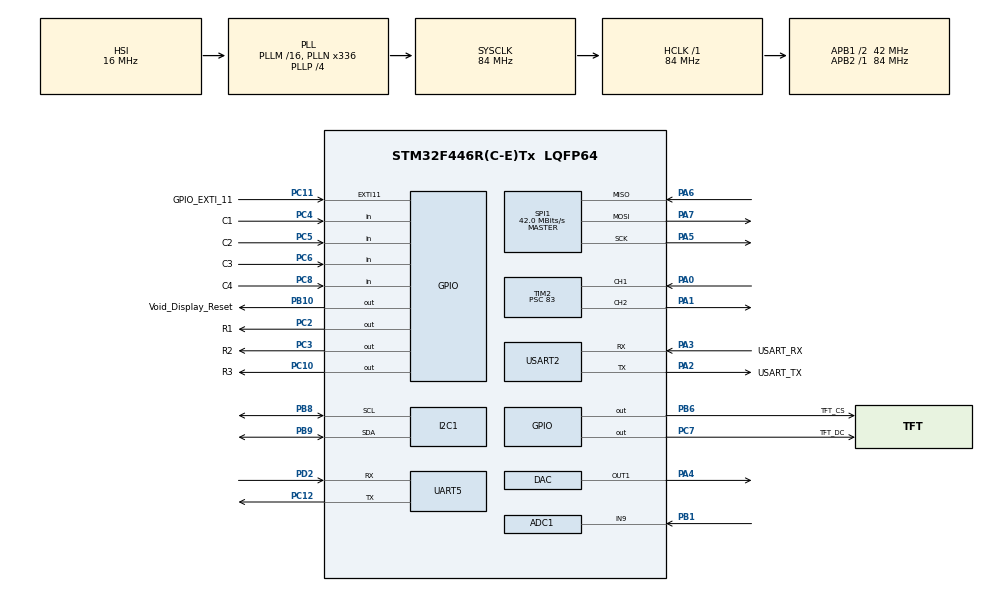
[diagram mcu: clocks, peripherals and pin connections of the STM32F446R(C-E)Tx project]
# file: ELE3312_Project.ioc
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ADC1.Channel-0\#ChannelRegularConversion=ADC_CHANNEL_9
ADC1.ExternalTrigConv=ADC_EXTERNALTRIGCONV_T2_TRGO
ADC1.NbrOfConversionFlag=1
ADC1.Rank-0\#ChannelRegularConversion=1
ADC1.SamplingTime-0\#ChannelRegularConversion=ADC_SAMPLETIME_3CYCLES
ADC1.master=1
DAC.DAC_Trigger=DAC_TRIGGER_T5_TRGO
Dma.DAC1.1.Direction=DMA_MEMORY_TO_PERIPH
Dma.DAC1.1.FIFOMode=DMA_FIFOMODE_DISABLE
Dma.DAC1.1.Instance=DMA1_Stream5
Dma.DAC1.1.MemDataAlignment=DMA_MDATAALIGN_WORD
Dma.DAC1.1.MemInc=DMA_MINC_ENABLE
Dma.DAC1.1.Mode=DMA_NORMAL
Dma.DAC1.1.PeriphDataAlignment=DMA_PDATAALIGN_WORD
Dma.DAC1.1.PeriphInc=DMA_PINC_DISABLE
Dma.DAC1.1.Priority=DMA_PRIORITY_HIGH
Dma.I2C1_RX.2.Direction=DMA_PERIPH_TO_MEMORY
Dma.I2C1_RX.2.FIFOMode=DMA_FIFOMODE_DISABLE
Dma.I2C1_RX.2.Instance=DMA1_Stream0
Dma.I2C1_RX.2.MemDataAlignment=DMA_MDATAALIGN_BYTE
Dma.I2C1_RX.2.MemInc=DMA_MINC_ENABLE
Dma.I2C1_RX.2.Mode=DMA_NORMAL
Dma.I2C1_RX.2.PeriphDataAlignment=DMA_PDATAALIGN_BYTE
Dma.I2C1_RX.2.PeriphInc=DMA_PINC_DISABLE
Dma.I2C1_RX.2.Priority=DMA_PRIORITY_LOW
Dma.I2C1_TX.3.Direction=DMA_MEMORY_TO_PERIPH
Dma.I2C1_TX.3.FIFOMode=DMA_FIFOMODE_DISABLE
Dma.I2C1_TX.3.Instance=DMA1_Stream6
Dma.I2C1_TX.3.MemDataAlignment=DMA_MDATAALIGN_BYTE
Dma.I2C1_TX.3.MemInc=DMA_MINC_ENABLE
Dma.I2C1_TX.3.Mode=DMA_NORMAL
Dma.I2C1_TX.3.PeriphDataAlignment=DMA_PDATAALIGN_BYTE
Dma.I2C1_TX.3.PeriphInc=DMA_PINC_DISABLE
Dma.I2C1_TX.3.Priority=DMA_PRIORITY_LOW
Dma.Request0=SPI1_TX
Dma.Request1=DAC1
Dma.Request2=I2C1_RX
Dma.Request3=I2C1_TX
Dma.Request4=UART5_TX
Dma.SPI1_TX.0.Direction=DMA_MEMORY_TO_PERIPH
Dma.SPI1_TX.0.FIFOMode=DMA_FIFOMODE_DISABLE
Dma.SPI1_TX.0.Instance=DMA2_Stream3
Dma.SPI1_TX.0.MemDataAlignment=DMA_MDATAALIGN_BYTE
Dma.SPI1_TX.0.MemInc=DMA_MINC_ENABLE
Dma.SPI1_TX.0.Mode=DMA_NORMAL
Dma.SPI1_TX.0.PeriphDataAlignment=DMA_PDATAALIGN_BYTE
Dma.SPI1_TX.0.PeriphInc=DMA_PINC_DISABLE
Dma.SPI1_TX.0.Priority=DMA_PRIORITY_LOW
Dma.UART5_TX.4.Direction=DMA_MEMORY_TO_PERIPH
Dma.UART5_TX.4.FIFOMode=DMA_FIFOMODE_DISABLE
Dma.UART5_TX.4.Instance=DMA1_Stream7
Dma.UART5_TX.4.MemDataAlignment=DMA_MDATAALIGN_BYTE
Dma.UART5_TX.4.MemInc=DMA_MINC_ENABLE
Dma.UART5_TX.4.Mode=DMA_NORMAL
Dma.UART5_TX.4.PeriphDataAlignment=DMA_PDATAALIGN_BYTE
Dma.UART5_TX.4.PeriphInc=DMA_PINC_DISABLE
Dma.UART5_TX.4.Priority=DMA_PRIORITY_LOW
I2C1.I2C_Mode=I2C_Fast
Mcu.Family=STM32F4
Mcu.Name=STM32F446R(C-E)Tx
Mcu.Package=LQFP64
NVIC.DMA1_Stream0_IRQn=true\:0\:0\:false\:false\:true\:false\:true\:true
NVIC.DMA1_Stream5_IRQn=true\:0\:0\:false\:false\:true\:false\:true\:true
NVIC.DMA1_Stream6_IRQn=true\:0\:0\:false\:false\:true\:false\:true\:true
NVIC.DMA1_Stream7_IRQn=true\:0\:0\:false\:false\:true\:false\:true\:true
NVIC.DMA2_Stream3_IRQn=true\:0\:0\:false\:false\:true\:false\:true\:true
NVIC.EXTI15_10_IRQn=true\:0\:0\:false\:false\:true\:true\:true\:true
NVIC.I2C1_ER_IRQn=true\:0\:0\:false\:false\:true\:true\:true\:true
NVIC.I2C1_EV_IRQn=true\:0\:0\:false\:false\:true\:true\:true\:true
NVIC.PriorityGroup=NVIC_PRIORITYGROUP_0
NVIC.SPI1_IRQn=true\:0\:0\:false\:false\:true\:true\:true\:true
NVIC.TIM2_IRQn=true\:0\:0\:false\:false\:true\:true\:true\:true
NVIC.UART5_IRQn=true\:0\:0\:false\:false\:true\:true\:true\:true
PA0-WKUP.Signal=S_TIM2_CH1_ETR
PA1.Signal=S_TIM2_CH2
PA13.GPIO_Label=TMS
PA13.Mode=Serial_Wire
PA13.Signal=SYS_JTMS-SWDIO
PA14.GPIO_Label=TCK
PA14.Mode=Serial_Wire
PA14.Signal=SYS_JTCK-SWCLK
PA2.GPIO_Label=USART_TX
PA2.Mode=Asynchronous
PA2.Signal=USART2_TX
PA3.GPIO_Label=USART_RX
PA3.Mode=Asynchronous
PA3.Signal=USART2_RX
PA4.Signal=COMP_DAC1_group
PA5.Mode=Full_Duplex_Master
PA5.Signal=SPI1_SCK
PA6.Mode=Full_Duplex_Master
PA6.Signal=SPI1_MISO
PA7.Mode=Full_Duplex_Master
PA7.Signal=SPI1_MOSI
PB1.Signal=ADCx_IN9
PB10.GPIO_Label=Void_Display_Reset
PB10.Signal=GPIO_Output
PB3.GPIO_Label=SWO
PB3.Signal=SYS_JTDO-SWO
PB6.GPIO_Label=TFT_CS
PB6.Signal=GPIO_Output
PB8.Mode=I2C
PB8.Signal=I2C1_SCL
PB9.Mode=I2C
PB9.Signal=I2C1_SDA
PC10.GPIO_Label=R3
PC10.GPIO_ModeDefaultOutputPP=GPIO_MODE_OUTPUT_OD
PC10.GPIO_PuPd=GPIO_NOPULL
PC10.Signal=GPIO_Output
PC11.GPIO_Label=GPIO_EXTI_11
PC11.GPIO_ModeDefaultEXTI=GPIO_MODE_IT_FALLING
PC11.Signal=GPXTI11
PC12.Mode=Asynchronous
PC12.Signal=UART5_TX
PC14-OSC32_IN.Mode=LSE-External-Oscillator
PC14-OSC32_IN.Signal=RCC_OSC32_IN
PC15-OSC32_OUT.Mode=LSE-External-Oscillator
PC15-OSC32_OUT.Signal=RCC_OSC32_OUT
PC2.GPIO_Label=R1
PC2.GPIO_ModeDefaultOutputPP=GPIO_MODE_OUTPUT_OD
PC2.GPIO_PuPd=GPIO_NOPULL
PC2.Signal=GPIO_Output
PC3.GPIO_Label=R2
PC3.GPIO_ModeDefaultOutputPP=GPIO_MODE_OUTPUT_OD
PC3.GPIO_PuPd=GPIO_NOPULL
PC3.Signal=GPIO_Output
PC4.GPIO_Label=C1
PC4.GPIO_PuPd=GPIO_PULLUP
PC4.Signal=GPIO_Input
PC5.GPIO_Label=C2
PC5.GPIO_PuPd=GPIO_PULLUP
PC5.Signal=GPIO_Input
PC6.GPIO_Label=C3
PC6.GPIO_PuPd=GPIO_PULLUP
PC6.Signal=GPIO_Input
PC7.GPIO_Label=TFT_DC
PC7.Signal=GPIO_Output
PC8.GPIO_Label=C4
PC8.GPIO_PuPd=GPIO_PULLUP
PC8.Signal=GPIO_Input
PD2.Mode=Asynchronous
PD2.Signal=UART5_RX
PH0-OSC_IN.Mode=HSE-External-Oscillator
PH0-OSC_IN.Signal=RCC_OSC_IN
PH1-OSC_OUT.Mode=HSE-External-Oscillator
PH1-OSC_OUT.Signal=RCC_OSC_OUT
ProjectManager.HeapSize=0x200
ProjectManager.StackSize=0x400
ProjectManager.TargetToolchain=MDK-ARM V5.32
RCC.48MHZClocksFreq_Value=84000000
RCC.AHBFreq_Value=84000000
RCC.APB1CLKDivider=RCC_HCLK_DIV2
RCC.APB1Freq_Value=42000000
RCC.APB1TimFreq_Value=84000000
RCC.APB2Freq_Value=84000000
RCC.APB2TimFreq_Value=84000000
RCC.CortexFreq_Value=84000000
RCC.FLatency-AdvancedSettings=FLASH_LATENCY_2
RCC.HCLKFreq_Value=84000000
RCC.HSE_VALUE=8000000
RCC.HSI_VALUE=16000000
RCC.PLLN=336
RCC.PLLP=RCC_PLLP_DIV4
RCC.SYSCLKFreq_VALUE=84000000
RCC.SYSCLKSource=RCC_SYSCLKSOURCE_PLLCLK
RCC.USBFreq_Value=168000000
RCC.VCOOutputFreq_Value=336000000
SH.ADCx_IN9.0=ADC1_IN9,IN9
SH.COMP_DAC1_group.0=DAC_OUT1,DAC_OUT1
SH.S_TIM2_CH1_ETR.0=TIM2_CH1,Input_Capture1_from_TI1
SH.S_TIM2_CH2.0=TIM2_CH2,PWM Generation2 CH2
SPI1.CalculateBaudRate=42.0 MBits/s
SPI1.Direction=SPI_DIRECTION_2LINES
SPI1.Mode=SPI_MODE_MASTER
SPI1.VirtualType=VM_MASTER
TIM2.Channel-Input_Capture1_from_TI1=TIM_CHANNEL_1
TIM2.Channel-PWM\ Generation2\ CH2=TIM_CHANNEL_2
TIM2.ICPolarity_CH1=TIM_INPUTCHANNELPOLARITY_BOTHEDGE
TIM2.Period=199999
TIM2.Prescaler=83
TIM2.Pulse-PWM\ Generation2\ CH2=10
TIM2.TIM_MasterOutputTrigger=TIM_TRGO_RESET
TIM5.Period=24
TIM5.Prescaler=83
TIM5.TIM_MasterOutputTrigger=TIM_TRGO_UPDATE
UART5.VirtualMode=Asynchronous
USART2.VirtualMode=VM_ASYNC
VP_TIM2_VS_ClockSourceINT.Mode=Internal
VP_TIM4_VS_ClockSourceINT.Mode=Internal
VP_TIM5_VS_ClockSourceINT.Mode=Internal
board=NUCLEO-F446RE

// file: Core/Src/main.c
/* USER CODE BEGIN Header */
/**
  ******************************************************************************
  * @file           : main.c
  * @brief          : Main program for the ELE3312 project
	* Authors         :
	* Group           :
	*
  ******************************************************************************
  * Project: Projet Final_Version Final
	* Partie : 1
  * Author1: Moira Lamarre 2070819
	* Author2: Kamer Ammour 2061731
  * Groupe: 5
	*
	* Partie : 2
	* Author3: Rina Aladad 2185593
	* Author4:Mahdi Moussa 2176885
  * Groupe: 5
  * Date: 2024-11-27
  * This file contains the main logic of the game.
  *
  ******************************************************************************
  */
/* USER CODE END Header */
#include "main.h"
#include "adc.h"
#include "dac.h"
#include "dma.h"
#include "i2c.h"
#include "spi.h"
#include "tim.h"
#include "usart.h"
#include "gpio.h"

/* USER CODE BEGIN Includes */
#include "ili9341.h"
#include "ili9341_gfx.h"
#include "stdio.h"
#include "stdlib.h"
#include "math.h"

#include "Graphics.h"
#include "Menu.h"
#include "Game.h"
#include "Battle.h"
#include "stdio.h"
#include "Accelerometre.h"
#include "Communication.h"

/* USER CODE END Includes */

/* USER CODE BEGIN PD */

#define TABLE_LENGTH 1000

/* USER CODE END PD */

/* USER CODE BEGIN PV */
ili9341_t *_screen;
player_t players[NUM_PLAYERS] = {0};
uint8_t gameFlag = 0;
uint8_t RxDatsa[1];

uint32_t tab_value0[TABLE_LENGTH];
uint32_t * pointer_tab0 = tab_value0; // Initialise un pointeur vers le tableau 1
uint8_t data[6];
int16_t accelY;
int16_t accelX;

float temps_min = 116.0;
float temps_max = 3480.0;
float v_son = 0.000343;
volatile float temps_echo = 0.0;
volatile float echo_start = 0.0;
volatile float echo_end = 0.0;

volatile int etat_rising_Egde=0;
volatile int in_bounds = 0;
volatile int position_current = 0;

//Partie 2 initiation signal carée, etc:

uint32_t tab_value[TABLE_LENGTH];
//uint32_t tab_value2[TABLE_LENGTH];
const float fs = 40000.0;
volatile float frequence;
const float M_PI = 3.14159265;
const float distance_un_carre = (60.0-2.0)/15.0;
const float distance_min = 2.0;
volatile float distance;
float freq[15] = {246.94,261.63,293.66,311.13,329.63,369.99,392.00,440,493.88,523.25,587.33,622.25,659.26,698.46,783.99};
float distance_carre[16] =
{distance_min,
1.0*distance_un_carre+distance_min,// distance maximale de la premiere frequence freq[0]
2.0*distance_un_carre+distance_min,
3.0*distance_un_carre+distance_min,
4.0*distance_un_carre+distance_min,
5.0*distance_un_carre+distance_min,
6.0*distance_un_carre+distance_min,
7.0*distance_un_carre+distance_min, //  distance maximale de la 7eme frequence freq[6]
8.0*distance_un_carre+distance_min, // distance maximale a 440Hz
9.0*distance_un_carre+distance_min,
10.0*distance_un_carre+distance_min,
11.0*distance_un_carre+distance_min,
12.0*distance_un_carre+distance_min,
13.0*distance_un_carre+distance_min,
14.0*distance_un_carre+distance_min,
15.0*distance_un_carre+distance_min};// distance maximale de la derniere frequence freq[14]

const int nb_pixel_un_carre = 240/15;
int nb_pixel_y [16]=
{0,
1*nb_pixel_un_carre,// derniere position du premier cube freq[0]
2*nb_pixel_un_carre,
3*nb_pixel_un_carre,
4*nb_pixel_un_carre,
5*nb_pixel_un_carre,
6*nb_pixel_un_carre,
7*nb_pixel_un_carre,
8*nb_pixel_un_carre, // derniere position du 8eme cube freq[7]
9*nb_pixel_un_carre,
10*nb_pixel_un_carre,
11*nb_pixel_un_carre,
12*nb_pixel_un_carre,
13*nb_pixel_un_carre,
14*nb_pixel_un_carre,
15*nb_pixel_un_carre};// derniere position du dernier cube freq[14]
ili9341_t *_screen;
extern volatile int counter;
extern volatile int nb_etoiles;
extern volatile int position_x[10];
extern volatile int position_y[10];
extern volatile int z;
extern volatile int pouvoir_Pac;
extern volatile int pouvoir_Ghost;

/* USER CODE END PV */

void SystemClock_Config(void);
/* USER CODE BEGIN PFP */

void HAL_TIM_IC_CaptureCallback(TIM_HandleTypeDef *htim){
    if (htim->Instance == TIM2 && htim->Channel == HAL_TIM_ACTIVE_CHANNEL_1) {
        if (etat_rising_Egde==0) {
            echo_start = HAL_TIM_ReadCapturedValue(htim, TIM_CHANNEL_1);
					etat_rising_Egde=1;
        } else if(etat_rising_Egde==1) {
            echo_end = HAL_TIM_ReadCapturedValue(htim, TIM_CHANNEL_1);
					etat_rising_Egde=0;
					temps_echo=fabsf(echo_end-echo_start);

					if(temps_echo>=temps_min && temps_echo<= temps_max)
					{
					in_bounds = 1;
					}else{in_bounds = 0;}
                 }

    }
}

void fill_table_onde_carre(uint32_t *tableau, float frequence) {

int periode = fs/frequence;

		for (int i = 0; i < TABLE_LENGTH; i++) {
			tableau[i] = (uint32_t)((sinf(2.0*M_PI*frequence*i/fs)+1)*2000.00);

}
		}
void partie_B(float v_son, float temps_echo, int in_bounds,ili9341_t *_screen,float *distance_carre,float *freq,float frequence,uint32_t *tab_value,int *nb_pixel_y ){
	    /* USER CODE END WHILE */

	 /* USER CODE END WHILE */
 distance = ((v_son *temps_echo)/2.0)*100.0;
	if(distance>=2&& distance<=60)
	{
		distance = distance;
	}else if (distance>=60)
	{
	distance = 60;
	} else if (distance <=2.8)
	{
	distance = 2;
	}

if(distance<=distance_carre[1] && distance>=distance_carre[0]){frequence = freq[0];
fill_table_onde_carre(tab_value, frequence);// premiere frequence
	ili9341_fill_rect(_screen, ILI9341_BLACK, 272, 0, 16, 240);
	position_current = nb_pixel_y [0];
	ili9341_fill_rect(_screen, ILI9341_CYAN, 272,nb_pixel_y [0], nb_pixel_un_carre, nb_pixel_un_carre);
}

if(distance<=distance_carre[2] && distance>=distance_carre[1]){frequence = freq[1];
fill_table_onde_carre(tab_value, frequence);
ili9341_fill_rect(_screen, ILI9341_BLACK, 272, 0, 16, 240);
		position_current = nb_pixel_y [1];
	ili9341_fill_rect(_screen, ILI9341_CYAN, 272,nb_pixel_y [1], nb_pixel_un_carre, nb_pixel_un_carre);
}

if(distance<=distance_carre[3] && distance>=distance_carre[2]){frequence = freq[2];
fill_table_onde_carre(tab_value, frequence);
ili9341_fill_rect(_screen, ILI9341_BLACK, 272, 0, 16, 240);
		position_current = nb_pixel_y [2];
	ili9341_fill_rect(_screen, ILI9341_CYAN, 272,nb_pixel_y [2], nb_pixel_un_carre, nb_pixel_un_carre);
}

if(distance<=distance_carre[4] && distance>=distance_carre[3]){frequence = freq[3];
fill_table_onde_carre(tab_value, frequence);
ili9341_fill_rect(_screen, ILI9341_BLACK, 272, 0, 16, 240);
		position_current = nb_pixel_y [3];
	ili9341_fill_rect(_screen, ILI9341_CYAN, 272,nb_pixel_y [3], nb_pixel_un_carre, nb_pixel_un_carre);
}

if(distance<=distance_carre[5] && distance>=distance_carre[4]){frequence = freq[4];
fill_table_onde_carre(tab_value, frequence);
ili9341_fill_rect(_screen, ILI9341_BLACK, 272, 0, 16, 240);
		position_current = nb_pixel_y [4];
	ili9341_fill_rect(_screen, ILI9341_CYAN, 272,nb_pixel_y [4], nb_pixel_un_carre, nb_pixel_un_carre);
}

if(distance<=distance_carre[6] && distance>=distance_carre[5]){frequence = freq[5];
fill_table_onde_carre(tab_value, frequence);
ili9341_fill_rect(_screen, ILI9341_BLACK, 272, 0, 16, 240);
		position_current = nb_pixel_y [5];
	ili9341_fill_rect(_screen, ILI9341_CYAN, 272,nb_pixel_y [5], nb_pixel_un_carre, nb_pixel_un_carre);
}

if(distance<=distance_carre[7] && distance>=distance_carre[6]){frequence = freq[6];
fill_table_onde_carre(tab_value, frequence);
ili9341_fill_rect(_screen, ILI9341_BLACK, 272, 0, 16, 240);
		position_current = nb_pixel_y [6];
	ili9341_fill_rect(_screen, ILI9341_CYAN, 272,nb_pixel_y [6], nb_pixel_un_carre, nb_pixel_un_carre);
}

if(distance<=distance_carre[8] && distance>=distance_carre[7]){frequence = freq[7];
fill_table_onde_carre(tab_value, frequence);//440 HZ
	ili9341_fill_rect(_screen, ILI9341_BLACK, 272, 0, 16, 240);
		position_current = nb_pixel_y [7];
	ili9341_fill_rect(_screen, ILI9341_CYAN, 272,nb_pixel_y [7], nb_pixel_un_carre, nb_pixel_un_carre);
}

if(distance<=distance_carre[9] && distance>=distance_carre[8]){frequence = freq[8];
fill_table_onde_carre(tab_value, frequence);
ili9341_fill_rect(_screen, ILI9341_BLACK, 272, 0, 16, 240);
		position_current = nb_pixel_y [8];
	ili9341_fill_rect(_screen, ILI9341_CYAN, 272,nb_pixel_y [8], nb_pixel_un_carre, nb_pixel_un_carre);
}

if(distance<=distance_carre[10] && distance>=distance_carre[9]){frequence = freq[9];
fill_table_onde_carre(tab_value, frequence);
ili9341_fill_rect(_screen, ILI9341_BLACK, 272, 0, 16, 240);
		position_current = nb_pixel_y [9];
	ili9341_fill_rect(_screen, ILI9341_CYAN, 272,nb_pixel_y [9], nb_pixel_un_carre, nb_pixel_un_carre);
}

if(distance<=distance_carre[11] && distance>=distance_carre[10]){frequence = freq[10];
fill_table_onde_carre(tab_value, frequence);
ili9341_fill_rect(_screen, ILI9341_BLACK, 272, 0, 16, 240);
		position_current = nb_pixel_y [10];
	ili9341_fill_rect(_screen, ILI9341_CYAN, 272,nb_pixel_y [10], nb_pixel_un_carre, nb_pixel_un_carre);
}

if(distance<=distance_carre[12] && distance>=distance_carre[11]){frequence = freq[11];
fill_table_onde_carre(tab_value, frequence);
ili9341_fill_rect(_screen, ILI9341_BLACK, 272, 0, 16, 240);
		position_current = nb_pixel_y [11];
	ili9341_fill_rect(_screen, ILI9341_CYAN, 272,nb_pixel_y [11], nb_pixel_un_carre, nb_pixel_un_carre);
}

if(distance<=distance_carre[13] && distance>=distance_carre[12]){frequence = freq[12];
fill_table_onde_carre(tab_value, frequence);
ili9341_fill_rect(_screen, ILI9341_BLACK, 272, 0, 16, 240);
		position_current = nb_pixel_y [12];
	ili9341_fill_rect(_screen, ILI9341_CYAN, 272,nb_pixel_y [12], nb_pixel_un_carre, nb_pixel_un_carre);
}

if(distance<=distance_carre[14] && distance>=distance_carre[13]){frequence = freq[13];
fill_table_onde_carre(tab_value, frequence);
ili9341_fill_rect(_screen, ILI9341_BLACK, 272, 0, 16, 240);
		position_current = nb_pixel_y [13];
	ili9341_fill_rect(_screen, ILI9341_CYAN, 272,nb_pixel_y [13], nb_pixel_un_carre, nb_pixel_un_carre);
}

if(distance<=distance_carre[15] && distance>=distance_carre[14]){frequence = freq[14];
fill_table_onde_carre(tab_value, frequence);// derniere frequence
ili9341_fill_rect(_screen, ILI9341_BLACK, 272, 0, 16, 240);
		position_current = nb_pixel_y [14];
	ili9341_fill_rect(_screen, ILI9341_CYAN, 272,nb_pixel_y [14], nb_pixel_un_carre, nb_pixel_un_carre);
}

frequence = 0.0;
	temps_echo = 0.0;
	distance = 0.0;
}
/* USER CODE END PFP */

int main(void)
{

  /* MCU Configuration--------------------------------------------------------*/

  /* Reset of all peripherals, Initializes the Flash interface and the Systick. */
  HAL_Init();

  /* USER CODE BEGIN Init */
	/* Default players setting */
	static game_state_t game_state = CHOOSE_PLAYER;
  /* USER CODE END Init */

  /* Configure the system clock */
  SystemClock_Config();

  /* Initialize all configured peripherals */
  MX_GPIO_Init();
  MX_DMA_Init();
  MX_SPI1_Init();
  MX_USART2_UART_Init();
  MX_DAC_Init();
  MX_TIM2_Init();
  MX_TIM5_Init();
  MX_ADC1_Init();
  MX_TIM4_Init();
  MX_I2C1_Init();
  MX_UART5_Init();
  /* USER CODE BEGIN 2 */

	// Initialize the screen
	_screen = ili9341_new(
		  &hspi1,
		  Void_Display_Reset_GPIO_Port, Void_Display_Reset_Pin,
		  TFT_CS_GPIO_Port, TFT_CS_Pin,
		  TFT_DC_GPIO_Port, TFT_DC_Pin,
		  isoLandscapeFlip,
		  NULL, NULL,
		  NULL, NULL,
		  itsNotSupported,
		  itnNormalized);
	char text[40];
	ili9341_text_attr_t text_attr = {&ili9341_font_11x18,  ILI9341_WHITE, ILI9341_BLACK, 10, 0};
	ili9341_fill_screen(_screen, ILI9341_BLACK);
	ili9341_text_attr_t text_attr2 = {&ili9341_font_11x18, ILI9341_WHITE, ILI9341_BLACK,0,18};
	HAL_TIM_Base_Start_IT(&htim2);
	HAL_TIM_PWM_Start_IT(&htim2,TIM_CHANNEL_2);
	HAL_TIM_IC_Start_IT(&htim2,TIM_CHANNEL_1);
	HAL_TIM_Base_Start_IT(&htim5);
	HAL_DAC_Start_DMA(&hdac, DAC_CHANNEL_1, tab_value, TABLE_LENGTH, DAC_ALIGN_12B_R);

		player_t* player = &players[LOCAL_PLAYER_ID];
	player_t* enemy = &players[ENEMY_PLAYER_ID];

	int16_t x = 0, y = 0;

  /* USER CODE END 2 */

  /* Infinite loop */
  while (1)
  {

    /* USER CODE BEGIN 3 */
		HAL_Delay(20); // � remplacer avec un timer

		switch(game_state) {
		case CHOOSE_PLAYER:
      choosePlayer(_screen, players);
			game_state = INIT_MAZE;
			break;
			break;

		case INIT_MAZE:
				counter = 0;
				nb_etoiles = 0;
				z = 0;
				pouvoir_Pac = 0;
		  	player->current_pos = player->start_pos;
		  	enemy->current_pos = enemy->start_pos;
		  	drawMaze(_screen, players);
		  	game_state = WANDER_MAZE;

			break;

		case WANDER_MAZE:

		//player
		if (Data_flag != 0) {
					See_Acceleration();
					Data_flag = 0;
			}
			x = player->current_pos.x + nx * STEP_SIZE;
			y = player->current_pos.y + ny * STEP_SIZE;

 if (updatePosition(_screen, (position_t){x, y}, players)) {
        game_state = BATTLE;
        continue;
    }

    // Communicate
    uint8_t message[4] = {
        (uint8_t)(player->current_pos.x >> 8),
        (uint8_t)(player->current_pos.x & 0xFF),
        (uint8_t)(player->current_pos.y >> 8),
        (uint8_t)(player->current_pos.y & 0xFF)
    };
    UART_SendMessage(&huart5, message, sizeof(message));

    // Check for position updates from the other board
    if (flag_message_complete) {
        flag_message_complete = 0;

        //Remote player's position
        enemy->previous_pos = enemy->current_pos;
        enemy->current_pos.x = (message_buffer[0] << 8) | message_buffer[1];
        enemy->current_pos.y = (message_buffer[2] << 8) | message_buffer[3];

        // Draw the remote player at the updated position
        drawRemotePlayer(_screen, enemy);
    }

  	if(updatePosition(_screen, (position_t){x, y}, players)){
				game_state = BATTLE;
			continue;
		}

			break;

		case BATTLE:
			HAL_DAC_Start_DMA(&hdac, DAC_CHANNEL_1, tab_value, TABLE_LENGTH, DAC_ALIGN_12B_R);
			battle(_screen, players);
			game_state = INIT_MAZE;
			break;
		}
  }
  /* USER CODE END 3 */
}

void SystemClock_Config(void)
{
  RCC_OscInitTypeDef RCC_OscInitStruct = {0};
  RCC_ClkInitTypeDef RCC_ClkInitStruct = {0};

  /** Configure the main internal regulator output voltage
  */
  __HAL_RCC_PWR_CLK_ENABLE();
  __HAL_PWR_VOLTAGESCALING_CONFIG(PWR_REGULATOR_VOLTAGE_SCALE3);

  /** Initializes the RCC Oscillators according to the specified parameters
  * in the RCC_OscInitTypeDef structure.
  */
  RCC_OscInitStruct.OscillatorType = RCC_OSCILLATORTYPE_HSI;
  RCC_OscInitStruct.HSIState = RCC_HSI_ON;
  RCC_OscInitStruct.HSICalibrationValue = RCC_HSICALIBRATION_DEFAULT;
  RCC_OscInitStruct.PLL.PLLState = RCC_PLL_ON;
  RCC_OscInitStruct.PLL.PLLSource = RCC_PLLSOURCE_HSI;
  RCC_OscInitStruct.PLL.PLLM = 16;
  RCC_OscInitStruct.PLL.PLLN = 336;
  RCC_OscInitStruct.PLL.PLLP = RCC_PLLP_DIV4;
  RCC_OscInitStruct.PLL.PLLQ = 2;
  RCC_OscInitStruct.PLL.PLLR = 2;
  if (HAL_RCC_OscConfig(&RCC_OscInitStruct) != HAL_OK)
  {
    Error_Handler();
  }

  /** Initializes the CPU, AHB and APB buses clocks
  */
  RCC_ClkInitStruct.ClockType = RCC_CLOCKTYPE_HCLK|RCC_CLOCKTYPE_SYSCLK
                              |RCC_CLOCKTYPE_PCLK1|RCC_CLOCKTYPE_PCLK2;
  RCC_ClkInitStruct.SYSCLKSource = RCC_SYSCLKSOURCE_PLLCLK;
  RCC_ClkInitStruct.AHBCLKDivider = RCC_SYSCLK_DIV1;
  RCC_ClkInitStruct.APB1CLKDivider = RCC_HCLK_DIV2;
  RCC_ClkInitStruct.APB2CLKDivider = RCC_HCLK_DIV1;

  if (HAL_RCC_ClockConfig(&RCC_ClkInitStruct, FLASH_LATENCY_2) != HAL_OK)
  {
    Error_Handler();
  }
}

/* USER CODE BEGIN 4 */
int fputc(int ch, FILE *f)
{
  HAL_UART_Transmit(&huart2, (uint8_t *)&ch, 1, HAL_MAX_DELAY);
  return ch;
}

void HAL_DAC_ConvCpltCallbackCh1(DAC_HandleTypeDef* hdac) {

            HAL_DAC_Start_DMA(hdac, DAC_CHANNEL_1, tab_value, TABLE_LENGTH, DAC_ALIGN_12B_R);

 }

void HAL_UART_RxCpltCallbacks(UART_HandleTypeDef *huart) {
    if (huart == &huart5) { // Check if the callback is for UART5
        UART_ProcessByte(RxDatsa[0]); // Process received byte
        HAL_UART_Receive_IT(&huart5, RxDatsa, 1); // Re-enable interrupt for the next byte
    }
}

/* USER CODE END 4 */

void Error_Handler(void)
{
  __disable_irq();
  while (1)
  {
  }
}
